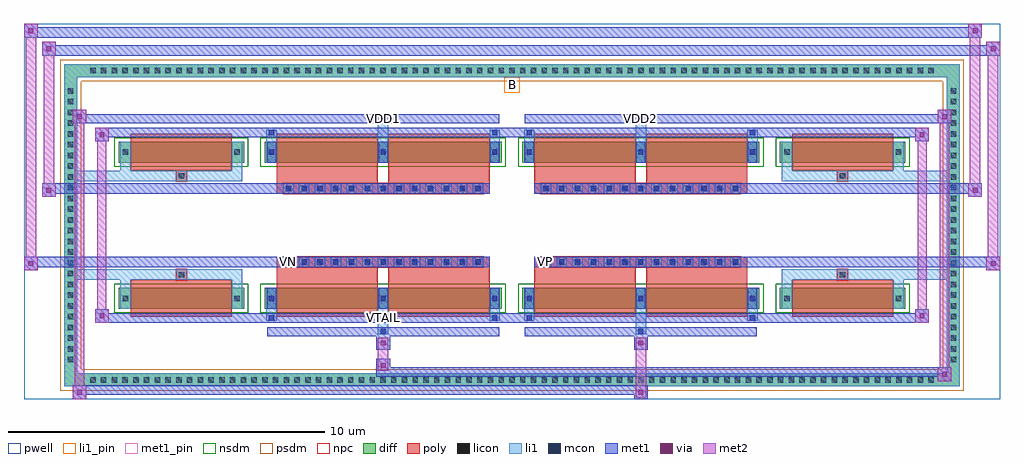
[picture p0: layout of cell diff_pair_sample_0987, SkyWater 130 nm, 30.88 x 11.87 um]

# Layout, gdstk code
import gdstk
lib = gdstk.Library(unit=1e-6, precision=5e-09)
def R(c, l, rs):  # rectangles x0, y0, x1, y1
    for r in rs: c.add(gdstk.rectangle(r[:2], r[2:], *l))
def A(c, l, x, y, w, h, nx, ny, dx, dy):  # array of equal rectangles
    R(c, l, [(x+i*dx, y+j*dy, x+i*dx+w, y+j*dy+h) for i in range(nx) for j in range(ny)])
def P(c, l, *ps):  # polygons
    for p in ps: c.add(gdstk.Polygon(p, *l))
pwell = (64, 44)
diff = (65, 20)
poly = (66, 20)
licon = (66, 44)
li1_pin = (67, 16)
li1 = (67, 20)
mcon = (67, 44)
met1_pin = (68, 16)
met1 = (68, 20)
via = (68, 44)
met2 = (69, 20)
nsdm = (93, 44)
psdm = (94, 20)
npc = (95, 20)

diff_pair_sample_0987 = lib.new_cell('diff_pair_sample_0987')
R(diff_pair_sample_0987, pwell, [(-15.44,-5.5,15.44,6.37), (-12.76,-3.69,-0.01,-0.795), (0.01,-3.69,12.76,-0.795), (-12.76,0.795,-0.01,3.69), (0.01,0.795,12.76,3.69)])
A(diff_pair_sample_0987, diff, -13.465, -5.1, 0.41, 0.41, 79, 2, 0.34, 9.79)
A(diff_pair_sample_0987, diff, -14.17, -4.455, 0.41, 0.41, 1, 26, 0, 0.34)
A(diff_pair_sample_0987, diff, 13.76, -4.455, 0.41, 0.41, 1, 26, 0, 0.34)
R(diff_pair_sample_0987, diff, [(-13.465,-5.1,13.465,-4.69), (-14.17,-4.455,-13.76,4.455), (13.76,-4.455,14.17,4.455), (-12.45,-2.645,-8.47,-1.985), (-7.83,-2.645,-0.32,-1.985), (0.32,-2.645,7.83,-1.985), (8.47,-2.645,12.45,-1.985), (-12.45,1.985,-8.47,2.645), (-7.83,1.985,-0.32,2.645), (0.32,1.985,7.83,2.645), (8.47,1.985,12.45,2.645), (-13.465,4.69,13.465,5.1)])
P(diff_pair_sample_0987, diff, [(14.17,5.1),(-14.17,5.1),(-14.17,-4.69),(-13.76,-4.69),(-13.76,4.69),(13.76,4.69),(13.76,-4.69),(-13.76,-4.69),(-14.17,-4.69),(-14.17,-5.1),(14.17,-5.1)])
A(diff_pair_sample_0987, poly, -7.24, -1.325, 0.33, 0.33, 13, 2, 0.5, 2.32)
A(diff_pair_sample_0987, poly, 0.91, -1.325, 0.33, 0.33, 13, 2, 0.5, 2.32)
R(diff_pair_sample_0987, poly, [(-12.06,-2.9,-8.86,-1.73), (-7.44,-2.9,-4.24,-1.73), (-3.91,-2.9,-0.71,-1.73), (0.71,-2.9,3.91,-1.73), (4.24,-2.9,7.44,-1.73), (8.86,-2.9,12.06,-1.73), (-10.625,-1.73,-10.295,-1.4), (-10.625,-1.73,-10.295,-1.4), (-7.44,-1.73,-4.24,-1.325), (-3.91,-1.73,-0.71,-1.325), (0.71,-1.73,3.91,-1.325), (4.24,-1.73,7.44,-1.325), (10.295,-1.73,10.625,-1.4), (10.295,-1.73,10.625,-1.4), (-7.44,-1.325,-0.71,-0.995), (0.71,-1.325,7.44,-0.995), (-7.44,0.995,-0.71,1.325), (0.71,0.995,7.44,1.325), (-7.44,1.325,-4.24,1.73), (-3.91,1.325,-0.71,1.73), (0.71,1.325,3.91,1.73), (4.24,1.325,7.44,1.73), (-10.625,1.4,-10.295,1.73), (-10.625,1.4,-10.295,1.73), (10.295,1.4,10.625,1.73), (10.295,1.4,10.625,1.73), (-12.06,1.73,-8.86,2.9), (-7.44,1.73,-4.24,2.9), (-3.91,1.73,-0.71,2.9), (0.71,1.73,3.91,2.9), (4.24,1.73,7.44,2.9), (8.86,1.73,12.06,2.9)])
A(diff_pair_sample_0987, licon, -13.345, -4.98, 0.17, 0.17, 79, 2, 0.34, 9.79)
A(diff_pair_sample_0987, licon, -14.05, -4.335, 0.17, 0.17, 1, 26, 0, 0.34)
A(diff_pair_sample_0987, licon, 13.88, -4.335, 0.17, 0.17, 1, 26, 0, 0.34)
A(diff_pair_sample_0987, licon, -7.69, -2.4, 0.17, 0.17, 3, 2, 3.53, 4.63)
A(diff_pair_sample_0987, licon, 0.46, -2.4, 0.17, 0.17, 3, 2, 3.53, 4.63)
A(diff_pair_sample_0987, licon, -7.16, -1.245, 0.17, 0.17, 13, 2, 0.5, 2.32)
A(diff_pair_sample_0987, licon, 0.99, -1.245, 0.17, 0.17, 13, 2, 0.5, 2.32)
R(diff_pair_sample_0987, licon, [(-12.31,-2.4,-12.14,-2.23), (-8.78,-2.4,-8.61,-2.23), (8.61,-2.4,8.78,-2.23), (12.14,-2.4,12.31,-2.23), (-10.545,-1.65,-10.375,-1.48), (10.375,-1.65,10.545,-1.48), (-10.545,1.48,-10.375,1.65), (10.375,1.48,10.545,1.65), (-12.31,2.23,-12.14,2.4), (-8.78,2.23,-8.61,2.4), (8.61,2.23,8.78,2.4), (12.14,2.23,12.31,2.4)])
R(diff_pair_sample_0987, li1_pin, [(-0.25,4.19,0.25,4.69)])
A(diff_pair_sample_0987, li1, -13.425, -5.06, 0.33, 0.33, 79, 2, 0.34, 9.79)
A(diff_pair_sample_0987, li1, -14.13, -4.415, 0.33, 0.33, 1, 26, 0, 0.34)
A(diff_pair_sample_0987, li1, 13.8, -4.415, 0.33, 0.33, 1, 26, 0, 0.34)
A(diff_pair_sample_0987, li1, -7.77, -2.645, 0.33, 0.66, 3, 2, 3.53, 4.63)
A(diff_pair_sample_0987, li1, 0.38, -2.645, 0.33, 0.66, 3, 2, 3.53, 4.63)
A(diff_pair_sample_0987, li1, -7.77, -2.48, 0.33, 0.33, 3, 2, 3.53, 4.63)
A(diff_pair_sample_0987, li1, 0.38, -2.48, 0.33, 0.33, 3, 2, 3.53, 4.63)
A(diff_pair_sample_0987, li1, -7.24, -1.325, 0.33, 0.33, 13, 2, 0.5, 2.32)
A(diff_pair_sample_0987, li1, 0.91, -1.325, 0.33, 0.33, 13, 2, 0.5, 2.32)
R(diff_pair_sample_0987, li1, [(-14.17,-5.1,-13.76,-4.69), (-14.17,-5.1,-13.76,-4.69), (-13.76,-5.1,13.76,-4.69), (13.76,-5.1,14.17,-4.69), (13.76,-5.1,14.17,-4.69), (-14.17,-4.69,-13.76,4.69), (13.76,-4.69,14.17,4.69), (-4.24,-3.45,-3.91,-2.645), (-4.16,-3.45,-3.99,-3.28), (3.91,-3.45,4.24,-2.645), (3.99,-3.45,4.16,-3.28), (-7.77,-3.02,-7.44,-2.645), (-7.69,-3.02,-7.52,-2.85), (-0.71,-3.02,-0.38,-2.645), (-0.63,-3.02,-0.46,-2.85), (0.38,-3.02,0.71,-2.645), (0.46,-3.02,0.63,-2.85), (7.44,-3.02,7.77,-2.645), (7.52,-3.02,7.69,-2.85), (-12.39,-2.645,-12.06,-1.985), (-8.86,-2.645,-8.53,-1.985), (8.53,-2.645,8.86,-1.985), (12.06,-2.645,12.39,-1.985), (-12.39,-2.48,-12.06,-2.15), (-8.86,-2.48,-8.53,-2.15), (8.53,-2.48,8.86,-2.15), (12.06,-2.48,12.39,-2.15), (-7.69,-2.4,-7.52,-2.23), (-7.69,-2.4,-7.52,-2.23), (-4.16,-2.4,-3.99,-2.23), (-4.16,-2.4,-3.99,-2.23), (-0.63,-2.4,-0.46,-2.23), (-0.63,-2.4,-0.46,-2.23), (0.46,-2.4,0.63,-2.23), (0.46,-2.4,0.63,-2.23), (3.99,-2.4,4.16,-2.23), (3.99,-2.4,4.16,-2.23), (7.52,-2.4,7.69,-2.23), (7.52,-2.4,7.69,-2.23), (-12.39,-1.985,-12.06,-1.4), (-8.86,-1.985,-8.53,-1.4), (8.53,-1.985,8.86,-1.4), (12.06,-1.985,12.39,-1.4), (-14.17,-1.73,-10.625,-1.4), (-12.39,-1.73,-10.625,-1.4), (-10.625,-1.73,-10.295,-1.4), (-10.295,-1.73,-8.53,-1.4), (8.53,-1.73,10.295,-1.4), (10.295,-1.73,10.625,-1.4), (10.295,-1.73,14.17,-1.4), (10.625,-1.73,12.39,-1.4), (-14.17,1.4,-10.625,1.73), (-12.39,1.4,-10.625,1.73), (-12.39,1.4,-12.06,1.985), (-10.625,1.4,-10.295,1.73), (-10.295,1.4,-8.53,1.73), (-8.86,1.4,-8.53,1.985), (8.53,1.4,10.295,1.73), (8.53,1.4,8.86,1.985), (10.295,1.4,10.625,1.73), (10.295,1.4,14.17,1.73), (10.625,1.4,12.39,1.73), (12.06,1.4,12.39,1.985), (-12.39,1.985,-12.06,2.645), (-8.86,1.985,-8.53,2.645), (8.53,1.985,8.86,2.645), (12.06,1.985,12.39,2.645), (-12.39,2.15,-12.06,2.48), (-8.86,2.15,-8.53,2.48), (8.53,2.15,8.86,2.48), (12.06,2.15,12.39,2.48), (-7.69,2.23,-7.52,2.4), (-7.69,2.23,-7.52,2.4), (-4.16,2.23,-3.99,2.4), (-4.16,2.23,-3.99,2.4), (-0.63,2.23,-0.46,2.4), (-0.63,2.23,-0.46,2.4), (0.46,2.23,0.63,2.4), (0.46,2.23,0.63,2.4), (3.99,2.23,4.16,2.4), (3.99,2.23,4.16,2.4), (7.52,2.23,7.69,2.4), (7.52,2.23,7.69,2.4), (-7.77,2.645,-7.44,3.02), (-4.24,2.645,-3.91,3.45), (-0.71,2.645,-0.38,3.02), (0.38,2.645,0.71,3.02), (3.91,2.645,4.24,3.45), (7.44,2.645,7.77,3.02), (-7.69,2.85,-7.52,3.02), (-0.63,2.85,-0.46,3.02), (0.46,2.85,0.63,3.02), (7.52,2.85,7.69,3.02), (-4.16,3.28,-3.99,3.45), (3.99,3.28,4.16,3.45), (-14.17,4.69,-13.76,5.1), (-14.17,4.69,-13.76,5.1), (-13.76,4.69,13.76,5.1), (13.76,4.69,14.17,5.1), (13.76,4.69,14.17,5.1)])
A(diff_pair_sample_0987, mcon, -7.69, -2.4, 0.17, 0.17, 3, 2, 3.53, 4.63)
A(diff_pair_sample_0987, mcon, 0.46, -2.4, 0.17, 0.17, 3, 2, 3.53, 4.63)
A(diff_pair_sample_0987, mcon, -7.16, -1.245, 0.17, 0.17, 13, 2, 0.5, 2.32)
A(diff_pair_sample_0987, mcon, 0.99, -1.245, 0.17, 0.17, 13, 2, 0.5, 2.32)
R(diff_pair_sample_0987, mcon, [(-4.16,-3.45,-3.99,-3.28), (3.99,-3.45,4.16,-3.28), (-7.69,-3.02,-7.52,-2.85), (-0.63,-3.02,-0.46,-2.85), (0.46,-3.02,0.63,-2.85), (7.52,-3.02,7.69,-2.85), (-7.69,2.85,-7.52,3.02), (-0.63,2.85,-0.46,3.02), (0.46,2.85,0.63,3.02), (7.52,2.85,7.69,3.02), (-4.16,3.28,-3.99,3.45), (3.99,3.28,4.16,3.45)])
R(diff_pair_sample_0987, met1_pin, [(-4.21,-3.06,-3.94,-2.79), (-7.21,-1.285,-6.94,-1.015), (0.94,-1.285,1.21,-1.015), (-4.21,3.24,-3.94,3.51), (3.94,3.24,4.21,3.51)])
A(diff_pair_sample_0987, met1, -7.75, -2.645, 0.29, 0.66, 3, 2, 3.53, 4.63)
A(diff_pair_sample_0987, met1, 0.4, -2.645, 0.29, 0.66, 3, 2, 3.53, 4.63)
A(diff_pair_sample_0987, met1, -7.75, -2.46, 0.29, 0.29, 3, 2, 3.53, 4.63)
A(diff_pair_sample_0987, met1, 0.4, -2.46, 0.29, 0.29, 3, 2, 3.53, 4.63)
A(diff_pair_sample_0987, met1, -7.22, -1.305, 0.29, 0.29, 13, 2, 0.5, 2.32)
A(diff_pair_sample_0987, met1, 0.93, -1.305, 0.29, 0.29, 13, 2, 0.5, 2.32)
R(diff_pair_sample_0987, met1, [(-13.9,-5.5,-13.47,-5.07), (3.86,-5.5,4.29,-5.07), (-13.9,-5.36,4.29,-5.07), (13.47,-4.93,13.9,-4.5), (-4.29,-4.79,13.9,-4.5), (-4.29,-4.65,-3.86,-4.22), (-4.29,-3.94,-3.86,-3.51), (3.86,-3.94,4.29,-3.51), (-7.75,-3.51,-0.4,-3.22), (-4.22,-3.51,-3.93,-3.22), (0.4,-3.51,7.75,-3.22), (3.93,-3.51,4.22,-3.22), (-13.19,-3.08,-12.76,-2.65), (-13.19,-3.08,-7.75,-2.79), (-7.75,-3.08,-7.46,-2.79), (-7.75,-3.08,-0.4,-2.79), (-0.69,-3.08,-0.4,-2.79), (-0.4,-3.08,0.4,-2.79), (0.4,-3.08,0.69,-2.79), (0.4,-3.08,7.75,-2.79), (7.46,-3.08,7.75,-2.79), (7.75,-3.08,13.19,-2.79), (12.76,-3.08,13.19,-2.65), (-15.44,-1.425,-15.01,-0.995), (15.01,-1.425,15.44,-0.995), (-15.44,-1.325,-0.71,-0.995), (-7.44,-1.325,-0.71,-0.995), (0.71,-1.325,7.44,-0.995), (0.71,-1.325,15.44,-0.995), (-14.87,0.895,-14.44,1.325), (14.44,0.895,14.87,1.325), (-14.87,0.995,-7.44,1.325), (-7.44,0.995,-0.71,1.325), (0.71,0.995,7.44,1.325), (7.44,0.995,14.87,1.325), (-13.19,2.65,-12.76,3.08), (12.76,2.65,13.19,3.08), (-13.19,2.79,-7.75,3.08), (-7.75,2.79,-7.46,3.08), (-7.75,2.79,-0.4,3.08), (-0.69,2.79,-0.4,3.08), (-0.4,2.79,0.4,3.08), (0.4,2.79,0.69,3.08), (0.4,2.79,7.75,3.08), (7.46,2.79,7.75,3.08), (7.75,2.79,13.19,3.08), (-13.9,3.22,-13.47,3.65), (-13.9,3.22,-7.75,3.51), (-7.75,3.22,-0.4,3.51), (-4.22,3.22,-3.93,3.51), (0.4,3.22,7.75,3.51), (3.93,3.22,4.22,3.51), (7.75,3.22,13.9,3.51), (13.47,3.22,13.9,3.65), (-14.87,5.37,-14.44,5.8), (-14.87,5.37,-12.76,5.7), (-12.76,5.37,12.76,5.7), (12.76,5.37,15.44,5.7), (15.01,5.37,15.44,5.8), (-15.44,5.94,-15.01,6.37), (-15.44,5.94,-12.76,6.27), (-12.76,5.94,12.76,6.27), (12.76,5.94,14.87,6.27), (14.44,5.94,14.87,6.37)])
R(diff_pair_sample_0987, via, [(-13.76,-5.36,-13.61,-5.21), (4,-5.36,4.15,-5.21), (13.61,-4.79,13.76,-4.64), (-4.15,-4.51,-4,-4.36), (-4.15,-3.8,-4,-3.65), (4,-3.8,4.15,-3.65), (-13.05,-2.94,-12.9,-2.79), (12.9,-2.94,13.05,-2.79), (-15.3,-1.285,-15.15,-1.135), (15.15,-1.285,15.3,-1.135), (-14.73,1.035,-14.58,1.185), (14.58,1.035,14.73,1.185), (-13.05,2.79,-12.9,2.94), (12.9,2.79,13.05,2.94), (-13.76,3.36,-13.61,3.51), (13.61,3.36,13.76,3.51), (-14.73,5.51,-14.58,5.66), (15.15,5.51,15.3,5.66), (-15.3,6.08,-15.15,6.23), (14.58,6.08,14.73,6.23)])
R(diff_pair_sample_0987, met2, [(-13.9,-5.5,-13.47,-5.07), (-13.83,-5.5,-13.54,3.65), (-13.54,-5.5,-13.47,-5.07), (-13.85,-5.45,-13.52,-5.12), (3.91,-5.45,4.24,-5.12), (3.91,-5.12,4.24,-3.89), (13.47,-4.93,13.9,-4.5), (13.54,-4.93,13.83,3.65), (13.83,-4.93,13.9,-4.5), (13.52,-4.88,13.85,-4.55), (-4.24,-4.6,-3.91,-4.27), (-4.24,-4.27,-3.91,-3.89), (-4.24,-3.89,-3.91,-3.56), (3.91,-3.89,4.24,-3.56), (-13.19,-3.08,-12.76,-2.65), (-13.12,-3.08,-12.83,3.08), (-12.83,-3.08,-12.76,-2.65), (12.76,-3.08,13.19,-2.65), (12.83,-3.08,13.12,3.08), (13.12,-3.08,13.19,-2.65), (-13.14,-3.03,-12.81,-2.7), (12.81,-3.03,13.14,-2.7), (-15.44,-1.425,-15.01,-0.995), (-15.39,-1.425,-15.06,6.37), (-15.06,-1.425,-15.01,-0.995), (15.01,-1.425,15.44,-0.995), (15.06,-1.425,15.39,5.8), (15.39,-1.425,15.44,-0.995), (-15.39,-1.375,-15.06,-1.045), (15.06,-1.375,15.39,-1.045), (-14.87,0.895,-14.44,1.325), (-14.82,0.895,-14.49,5.8), (-14.49,0.895,-14.44,1.325), (14.44,0.895,14.87,1.325), (14.49,0.895,14.82,6.37), (14.82,0.895,14.87,1.325), (-14.82,0.945,-14.49,1.275), (14.49,0.945,14.82,1.275), (-13.19,2.65,-12.76,3.08), (-12.83,2.65,-12.76,3.08), (12.76,2.65,13.19,3.08), (13.12,2.65,13.19,3.08), (-13.14,2.7,-12.81,3.03), (12.81,2.7,13.14,3.03), (-13.9,3.22,-13.47,3.65), (-13.54,3.22,-13.47,3.65), (13.47,3.22,13.9,3.65), (13.83,3.22,13.9,3.65), (-13.85,3.27,-13.52,3.6), (13.52,3.27,13.85,3.6), (-14.87,5.37,-14.44,5.8), (-14.49,5.37,-14.44,5.8), (15.01,5.37,15.44,5.8), (15.39,5.37,15.44,5.8), (-14.82,5.42,-14.49,5.75), (15.06,5.42,15.39,5.75), (-15.44,5.94,-15.01,6.37), (-15.06,5.94,-15.01,6.37), (14.44,5.94,14.87,6.37), (14.82,5.94,14.87,6.37), (-15.39,5.99,-15.06,6.32), (14.49,5.99,14.82,6.32)])
R(diff_pair_sample_0987, nsdm, [(-12.58,-2.775,-8.34,-1.855), (-7.96,-2.775,-0.19,-1.855), (0.19,-2.775,7.96,-1.855), (8.34,-2.775,12.58,-1.855), (-12.58,1.855,-8.34,2.775), (-7.96,1.855,-0.19,2.775), (0.19,1.855,7.96,2.775), (8.34,1.855,12.58,2.775)])
P(diff_pair_sample_0987, psdm, [(14.3,5.23),(-14.3,5.23),(-14.3,-4.56),(-13.63,-4.56),(-13.63,4.56),(13.63,4.56),(13.63,-4.56),(-13.63,-4.56),(-14.3,-4.56),(-14.3,-5.23),(14.3,-5.23)])
A(diff_pair_sample_0987, npc, -7.26, -1.345, 0.37, 0.37, 13, 2, 0.5, 2.32)
A(diff_pair_sample_0987, npc, 0.89, -1.345, 0.37, 0.37, 13, 2, 0.5, 2.32)
R(diff_pair_sample_0987, npc, [(-10.645,-1.75,-10.275,-1.38), (10.275,-1.75,10.645,-1.38), (-7.26,-1.345,-6.39,-0.975), (-7.26,-1.345,-6.39,-0.975), (-6.76,-1.345,-5.89,-0.975), (-6.76,-1.345,-5.89,-0.975), (-6.26,-1.345,-5.39,-0.975), (-6.26,-1.345,-5.39,-0.975), (-5.76,-1.345,-4.89,-0.975), (-5.76,-1.345,-4.89,-0.975), (-5.26,-1.345,-4.39,-0.975), (-5.26,-1.345,-4.39,-0.975), (-4.76,-1.345,-3.89,-0.975), (-4.76,-1.345,-3.89,-0.975), (-4.26,-1.345,-3.39,-0.975), (-4.26,-1.345,-3.39,-0.975), (-3.76,-1.345,-2.89,-0.975), (-3.76,-1.345,-2.89,-0.975), (-3.26,-1.345,-2.39,-0.975), (-3.26,-1.345,-2.39,-0.975), (-2.76,-1.345,-1.89,-0.975), (-2.76,-1.345,-1.89,-0.975), (-2.26,-1.345,-1.39,-0.975), (-2.26,-1.345,-1.39,-0.975), (-1.76,-1.345,-0.89,-0.975), (-1.76,-1.345,-0.89,-0.975), (0.89,-1.345,1.76,-0.975), (0.89,-1.345,1.76,-0.975), (1.39,-1.345,2.26,-0.975), (1.39,-1.345,2.26,-0.975), (1.89,-1.345,2.76,-0.975), (1.89,-1.345,2.76,-0.975), (2.39,-1.345,3.26,-0.975), (2.39,-1.345,3.26,-0.975), (2.89,-1.345,3.76,-0.975), (2.89,-1.345,3.76,-0.975), (3.39,-1.345,4.26,-0.975), (3.39,-1.345,4.26,-0.975), (3.89,-1.345,4.76,-0.975), (3.89,-1.345,4.76,-0.975), (4.39,-1.345,5.26,-0.975), (4.39,-1.345,5.26,-0.975), (4.89,-1.345,5.76,-0.975), (4.89,-1.345,5.76,-0.975), (5.39,-1.345,6.26,-0.975), (5.39,-1.345,6.26,-0.975), (5.89,-1.345,6.76,-0.975), (5.89,-1.345,6.76,-0.975), (6.39,-1.345,7.26,-0.975), (6.39,-1.345,7.26,-0.975), (-7.26,0.975,-6.39,1.345), (-7.26,0.975,-6.39,1.345), (-6.76,0.975,-5.89,1.345), (-6.76,0.975,-5.89,1.345), (-6.26,0.975,-5.39,1.345), (-6.26,0.975,-5.39,1.345), (-5.76,0.975,-4.89,1.345), (-5.76,0.975,-4.89,1.345), (-5.26,0.975,-4.39,1.345), (-5.26,0.975,-4.39,1.345), (-4.76,0.975,-3.89,1.345), (-4.76,0.975,-3.89,1.345), (-4.26,0.975,-3.39,1.345), (-4.26,0.975,-3.39,1.345), (-3.76,0.975,-2.89,1.345), (-3.76,0.975,-2.89,1.345), (-3.26,0.975,-2.39,1.345), (-3.26,0.975,-2.39,1.345), (-2.76,0.975,-1.89,1.345), (-2.76,0.975,-1.89,1.345), (-2.26,0.975,-1.39,1.345), (-2.26,0.975,-1.39,1.345), (-1.76,0.975,-0.89,1.345), (-1.76,0.975,-0.89,1.345), (0.89,0.975,1.76,1.345), (0.89,0.975,1.76,1.345), (1.39,0.975,2.26,1.345), (1.39,0.975,2.26,1.345), (1.89,0.975,2.76,1.345), (1.89,0.975,2.76,1.345), (2.39,0.975,3.26,1.345), (2.39,0.975,3.26,1.345), (2.89,0.975,3.76,1.345), (2.89,0.975,3.76,1.345), (3.39,0.975,4.26,1.345), (3.39,0.975,4.26,1.345), (3.89,0.975,4.76,1.345), (3.89,0.975,4.76,1.345), (4.39,0.975,5.26,1.345), (4.39,0.975,5.26,1.345), (4.89,0.975,5.76,1.345), (4.89,0.975,5.76,1.345), (5.39,0.975,6.26,1.345), (5.39,0.975,6.26,1.345), (5.89,0.975,6.76,1.345), (5.89,0.975,6.76,1.345), (6.39,0.975,7.26,1.345), (6.39,0.975,7.26,1.345), (-10.645,1.38,-10.275,1.75), (10.275,1.38,10.645,1.75)])
diff_pair_sample_0987.add(gdstk.Label('VTAIL', (-4.075,-2.925), layer=68, texttype=5))
diff_pair_sample_0987.add(gdstk.Label('VN', (-7.075,-1.15), layer=68, texttype=5))
diff_pair_sample_0987.add(gdstk.Label('VP', (1.075,-1.15), layer=68, texttype=5))
diff_pair_sample_0987.add(gdstk.Label('B', (0,4.44), layer=67, texttype=5))
diff_pair_sample_0987.add(gdstk.Label('VDD2', (4.075,3.375), layer=68, texttype=5))
diff_pair_sample_0987.add(gdstk.Label('VDD1', (-4.075,3.375), layer=68, texttype=5))

lib.write_gds('diff_pair_sample_0987.gds')
